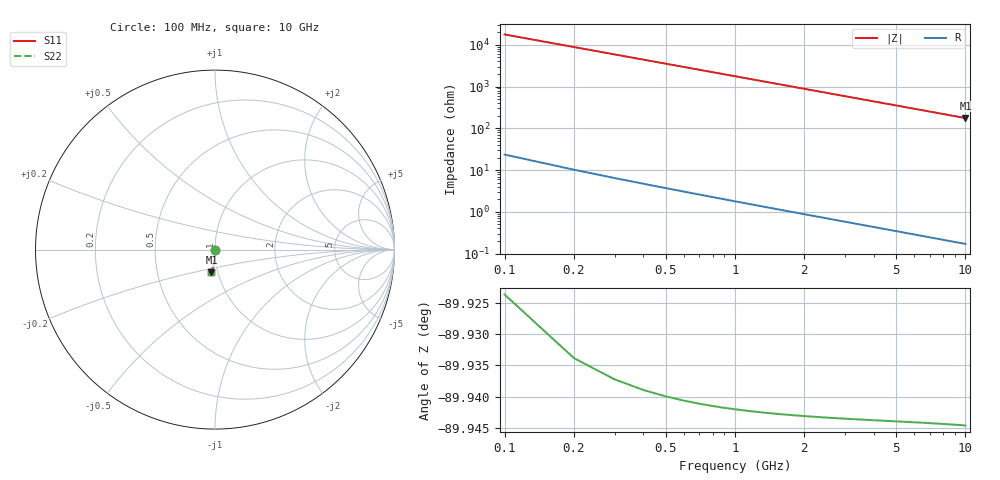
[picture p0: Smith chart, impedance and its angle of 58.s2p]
# Hz S RI R 50.00
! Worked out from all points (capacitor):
!   100 points, 100 MHz to 10 GHz, reference 50 ohm
!   read as one part in shunt: C = 90.1 fF near 100 MHz
!   lowest |Z| = 176 ohm at 10 GHz (marker M1)
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1e8  0.000121 -0.00129  0.9999 -0.00154  0.9999 -0.00154  0.000121 -0.00129
2e8  0.000114 -0.00257  0.9999 -0.00309  0.9999 -0.00309  0.000114 -0.00257
3e8  0.000103 -0.00386  0.9999 -0.00463  0.9999 -0.00463  0.000103 -0.00386
4e8  8.85e-05 -0.00515  0.9998 -0.00618  0.9998 -0.00618  8.85e-05 -0.00515
5e8  6.97e-05 -0.00643  0.9998 -0.00772  0.9998 -0.00772  6.97e-05 -0.00643
6e8  4.68e-05 -0.00772  0.9998 -0.00927  0.9998 -0.00927  4.68e-05 -0.00772
7e8  2e-05 -0.00901  0.9998 -0.0108  0.9998 -0.0108  2e-05 -0.00901
8e8  -1.09e-05 -0.0103  0.9997 -0.0124  0.9997 -0.0124  -1.09e-05 -0.0103
9e8  -4.57e-05 -0.0116  0.9997 -0.0139  0.9997 -0.0139  -4.57e-05 -0.0116
1.1e9  -0.000127 -0.0142  0.9996 -0.017  0.9996 -0.017  -0.000127 -0.0142
1.4e9  -0.00028 -0.018  0.9995 -0.0216  0.9995 -0.0216  -0.00028 -0.018
1.8e9  -0.000539 -0.0232  0.9992 -0.0278  0.9992 -0.0278  -0.000539 -0.0232
2.1e9  -0.000775 -0.027  0.9989 -0.0324  0.9989 -0.0324  -0.000775 -0.027
2.5e9  -0.00114 -0.0321  0.9986 -0.0386  0.9986 -0.0386  -0.00114 -0.0321
2.9e9  -0.00158 -0.0373  0.9981 -0.0447  0.9981 -0.0447  -0.00158 -0.0373
3.4e9  -0.00221 -0.0437  0.9975 -0.0524  0.9975 -0.0524  -0.00221 -0.0437
4.2e9  -0.00342 -0.0539  0.9962 -0.0647  0.9962 -0.0647  -0.00342 -0.0539
5.1e9  -0.00509 -0.0654  0.9945 -0.0785  0.9945 -0.0785  -0.00509 -0.0654
5.9e9  -0.00684 -0.0755  0.9928 -0.0907  0.9928 -0.0907  -0.00684 -0.0755
6.7e9  -0.00884 -0.0856  0.9907 -0.1028  0.9907 -0.1028  -0.00884 -0.0856
8.4e9  -0.0139 -0.1068  0.9856 -0.1285  0.9856 -0.1285  -0.0139 -0.1068
1e10  -0.0196 -0.1264  0.9797 -0.1523  0.9797 -0.1523  -0.0196 -0.1264
